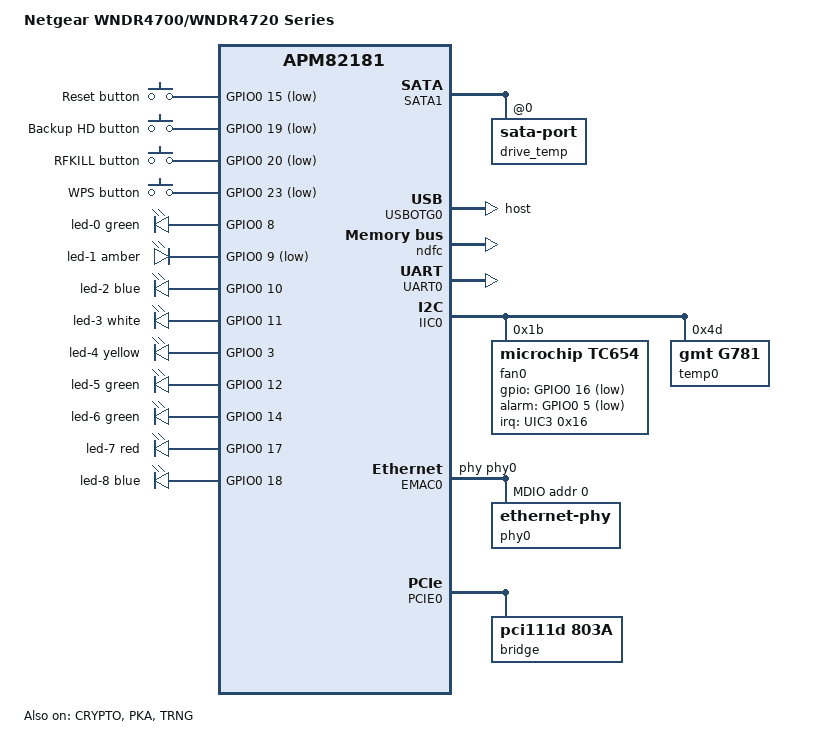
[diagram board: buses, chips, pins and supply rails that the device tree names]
// SPDX-License-Identifier: GPL-2.0-only
/*
 * Device Tree Source for Netgear WNDR4700/WNDR4720 Series
 *
 * Copyright 2008 DENX Software Engineering, Stefan Roese <sr@denx.de>
 */

/dts-v1/;

#include <dt-bindings/thermal/thermal.h>
#include <dt-bindings/leds/common.h>
#include "apm82181.dtsi"

/ {
	model = "Netgear WNDR4700/WNDR4720 Series";
	compatible = "netgear,wndr4700", "apm,bluestone";

	aliases {
		serial0 = &UART0;
	};

	chosen {
		stdout-path = "/plb/opb/serial@ef600300:115200n8";
	};

	thermal-zones {
		cpu_thermal: cpu-thermal {
			polling-delay-passive = <10000>; /* milliseconds */
			polling-delay = <20000>; /* milliseconds */

			thermal-sensors = <&temp0 1>;

			/*
			 * REVISIT:
			 *
			 * Add the <&drive_temp>; sensor there and wire up
			 * the coefficients = <1 1>; property.
			 *
			 * Note: The kernel does not yet support more than
			 * one sensor (see of_thermal.c's function:
			 * thermal_of_build_thermal_zon()). Once this is
			 * implemented.
			 */

			trips {
				/*
				 * Once the thermal governers are a bit smarter
				 * and do hysteresis properly, we can disable
				 * the fan when the HDD and CPU has < 39 C.
				 */
				cpu_alert0: board-alert0 {
					temperature = <25000>;
					hysteresis = <2000>;
					type = "active";
				};

				cpu_alert1: cpu-alert1 {
					temperature = <27000>; /* millicelsius */
					hysteresis = <2000>; /* millicelsius */
					type = "active";
				};

				cpu_alert2: cpu-alert2 {
					temperature = <65000>; /* millicelsius */
					hysteresis = <2000>; /* millicelsius */
					type = "active";
				};

				cpu_alert3: cpu-alert3 {
					temperature = <70000>; /* millicelsius */
					hysteresis = <2000>; /* millicelsius */
					type = "active";
				};

				cpu_alert4: cpu-alert4 {
					temperature = <75000>; /* millicelsius */
					hysteresis = <2000>; /* millicelsius */
					type = "active";
				};

				cpu_alert5: cpu-alert5 {
					temperature = <80000>; /* millicelsius */
					hysteresis = <2000>; /* millicelsius */
					type = "active";
				};

				cpu_alert6: cpu-alert6 {
					temperature = <85000>; /* millicelsius */
					hysteresis = <2000>; /* millicelsius */
					type = "active";
				};

				cpu_crit: cpu-crit {
					temperature = <90000>; /* millicelsius */
					hysteresis = <2000>; /* millicelsius */
					type = "critical";
				};
			};

			cooling-maps {
				map0 {
					trip = <&cpu_alert0>;
					cooling-device = <&fan0 THERMAL_NO_LIMIT 0>;
				};

				map1 {
					trip = <&cpu_alert1>;
					cooling-device = <&fan0 1 1>;
				};

				map2 {
					trip = <&cpu_alert2>;
					cooling-device = <&fan0 2 4>;
				};

				map3 {
					trip = <&cpu_alert3>;
					cooling-device = <&fan0 4 8>;
				};

				map4 {
					trip = <&cpu_alert4>;
					cooling-device = <&fan0 9 12>;
				};

				map5 {
					trip = <&cpu_alert5>;
					cooling-device = <&fan0 13 15>;
				};

				map6 {
					trip = <&cpu_alert6>;
					cooling-device =<&fan0 16 THERMAL_NO_LIMIT>;
				};
			};
		};
	};
};

&CRYPTO {
	status = "okay";
};

&PKA {
	status = "okay";
};

&TRNG {
	status = "okay";
};

&SATA1 {
	status = "okay";

	/*
	 * This drive may have a temperature sensor with a
	 * thermal zone we can use for thermal control of the
	 * chassis temperature using the fan.
	 */

	drive_temp: sata-port@0 {
		reg = <0>;
		#thermal-sensor-cells = <0>;
	};
};

&USBOTG0 {
	status = "okay";
	dr_mode = "host";
};

&ndfc {
	status = "okay";
	/* 128 MiB Nand Flash */
	nand {
		nand-is-boot-medium;

		partitions {
			compatible = "fixed-partitions";
			#address-cells = <1>;
			#size-cells = <1>;

			partition@0 {
				label = "uboot";
				reg = <0x00000000 0x00180000>;
				read-only;
			};

			partition@180000 {
				label = "kernel";
				reg = <0x00180000 0x00380000>;
				/*
				 * device-tree is @ 0x00180000 - 0x001fffff
				 * kernel starts from 0x200000.
				 * this is coded into netgear's u-boot.
				 *
				 * this partition will also contain a
				 * fake/empty rootfs at the end to fool
				 * Netgear's uboot rootfs integrety checks.
				 */
			};

			partition@500000 {
				label = "ubi";
				reg = <0x00500000 0x014e0000>;
			};


			/*
			 * Netgear's u-boot in the fw_recovery mode (can be
			 * triggered by holding the reset button, or if
			 * "bootm" fails) will not flash past this point
			 * (= 0x19E0000).
			 */

			partition@19e0000 {
				label = "config";
				reg = <0x019e0000 0x00080000>;
				read-only;
			};

			partition@1a60000 {
				label = "pot";
				reg = <0x01a60000 0x00080000>;
				read-only;
			};

			partition@1ae0000 {
				label = "traffic_meter";
				reg = <0x01ae0000 0x00300000>;
				read-only;
			};

			partition@1de0000 {
				label = "language";
				reg = <0x01de0000 0x001c0000>;
				read-only;
			};

			partition@1fa0000 {
				label = "ecos";
				reg = <0x01fa0000 0x06020000>;
				read-only;
			};

			partition@7fc0000 {
				label = "wifi_data";
				reg = <0x07fc0000 0x00040000>;
				read-only;

				compatible = "nvmem-cells";
				#address-cells = <1>;
				#size-cells = <1>;

				macaddr_wifi_0: macaddr@0 {
					reg = <0x0 0x6>;
				};
				macaddr_wifi_c: macaddr@c {
					reg = <0xc 0x6>;
				};

				calibration_wifi_1000: calibration@1000 {
					reg = <0x1000 0x440>;
				};

				calibration_wifi_5000: calibration@5000 {
					reg = <0x5000 0x440>;
				};
			};
		};
	};
};

&UART0 {
	status = "okay";
};

&GPIO0 {
	status = "okay";
};

&IIC0 {
	status = "okay";

	fan0: fan@1b {
		compatible = "microchip,tc654";
		reg = <0x1b>;
		#cooling-cells = <2>; /* min followed by max */

		gpios = <&GPIO0 16 GPIO_ACTIVE_LOW>; /* fan status */
		alarm-gpios = <&GPIO0 5 GPIO_ACTIVE_LOW>; /* fault */
		interrupt-parent = <&UIC3>;
		interrupts = <0x16 IRQ_TYPE_EDGE_FALLING>; /* fault */
	};

	temp0: temp@4d {
		compatible = "gmt,g781";
		reg = <0x4d>;
		#thermal-sensor-cells = <1>;

		/*
		 * The LM90 has two sensors:
		 *   temp0 -> internal to LM90
		 *   temp1 -> external NTC near CPU
		 */
	};
};


&EMAC0 {
	status = "okay";
	phy-handle = <&phy0>;
	fifo-entry-size = <10>;

	mdio {
		#address-cells = <1>;
		#size-cells = <0>;
		phy0: ethernet-phy@0 {
			device_type = "ethernet-phy";
			reg = <0>;
			qca,mib-poll-interval = <500>;

			qca,ar8327-initvals = <
				0x0010 0x40000000
				0x0624 0x007f7f7f
				0x0004 0x07a00000	/* PAD0_MODE */
				0x000c 0x01000000	/* PAD6_MODE */
				0x007c 0x0000007e	/* PORT0_STATUS */
			>;
		};
	};
};

&POB0 {

	keys {
		compatible = "gpio-keys";

		reset {
			label = "Reset button";
			gpios = <&GPIO0 15 GPIO_ACTIVE_LOW>;
			linux,code = <KEY_RESTART>;
			interrupt-parent = <&UIC1>;
			interrupts = <0x14 IRQ_TYPE_EDGE_FALLING>;
			debounce-interval = <60>;
		};

		backup_hd {
			label = "Backup HD button";
			gpios = <&GPIO0 19 GPIO_ACTIVE_LOW>;
			linux,code = <BTN_0>;
			interrupt-parent = <&UIC1>;
			interrupts = <0x1e IRQ_TYPE_EDGE_FALLING>;
			debounce-interval = <60>;
		};

		rfkill {
			label = "RFKILL button";
			gpios = <&GPIO0 20 GPIO_ACTIVE_LOW>;
			linux,code = <KEY_RFKILL>;
			interrupt-parent = <&UIC1>;
			interrupts = <0x1f IRQ_TYPE_EDGE_FALLING>;
			debounce-interval = <60>;
		};

		wps {
			label = "WPS button";
			gpios = <&GPIO0 23 GPIO_ACTIVE_LOW>;
			linux,code = <KEY_WPS_BUTTON>;
			interrupt-parent = <&UIC2>;
			interrupts = <0x19 IRQ_TYPE_EDGE_FALLING>;
			debounce-interval = <60>;
		};
	};

	leds {
		compatible = "gpio-leds";

		led-0 {
			color = <LED_COLOR_ID_GREEN>;
			function = LED_FUNCTION_POWER;
			gpios = <&GPIO0 8 GPIO_ACTIVE_HIGH>;
		};

		led-1 {
			color = <LED_COLOR_ID_AMBER>;
			function = LED_FUNCTION_FAULT;
			gpios = <&GPIO0 9 GPIO_ACTIVE_LOW>;
			panic-indicator;
		};

		led-2 {
			color = <LED_COLOR_ID_BLUE>;
			function = LED_FUNCTION_USB;
			gpios = <&GPIO0 10 GPIO_ACTIVE_HIGH>;
			trigger-sources = <&usb2_port 1>, <&usb2_port 2>,
					  <&usb3_port 1>, <&usb3_port 2>;
			linux,default-trigger = "usbport";
		};

		led-3 {
			color = <LED_COLOR_ID_WHITE>;
			function = LED_FUNCTION_INDICATOR;
			gpios = <&GPIO0 11 GPIO_ACTIVE_HIGH>;
		};

		led-4 {
			color = <LED_COLOR_ID_YELLOW>;
			function = LED_FUNCTION_WAN;
			gpios = <&GPIO0 3 GPIO_ACTIVE_HIGH>;
		};

		led-5 {
			color = <LED_COLOR_ID_GREEN>;
			function = LED_FUNCTION_WAN;
			gpios = <&GPIO0 12 GPIO_ACTIVE_HIGH>;
		};

		led-6 {
			color = <LED_COLOR_ID_GREEN>;
			function = LED_FUNCTION_DISK;
			gpios = <&GPIO0 14 GPIO_ACTIVE_HIGH>;
			linux,default-trigger = "disk-activity";
		};

		led-7 {
			color = <LED_COLOR_ID_RED>;
			function = LED_FUNCTION_DISK_ERR;
			gpios = <&GPIO0 17 GPIO_ACTIVE_HIGH>;
		};

		led-8 {
			color = <LED_COLOR_ID_BLUE>;
			function = LED_FUNCTION_WLAN;
			gpios = <&GPIO0 18 GPIO_ACTIVE_HIGH>;
			linux,default-trigger = "phy0tpt";
		};
	};
};

&PCIE0 {
	status = "okay";

	/*
	 * relevant lspci topology:
	 *
	 *	-+-[0000:40]---00.0-[41-7f]----00.0-[42-45]--+-02.0-[43]----00.0
	 *	                                             +-03.0-[44]----00.0
	 *	                                             \-04.0-[45]----00.0
	 *
	 */

	bridge@64,0 {
		reg = <0x00400000 0 0 0 0>;
		#address-cells = <3>;
		#size-cells = <2>;
		ranges;

		bridge@65,0 {
			/* IDT PES4T4 PCI Express Switch */
			compatible = "pci111d,803a";
			reg = <0x00410000 0 0 0 0>;
			#address-cells = <3>;
			#size-cells = <2>;
			ranges;

			bridge@66,2 {
				compatible = "pci111d,803a";
				reg = <0x00421000 0 0 0 0>;
				#address-cells = <3>;
				#size-cells = <2>;
				ranges;

				wifi0: wifi@67,0 {
					/* Atheros AR9380 5GHz */
					compatible = "pci168c,0030";
					reg = <0x00430000 0 0 0 0>;
					interrupts = <3>; /* INTC */
					nvmem-cell-names = "mac-address", "calibration";
					nvmem-cells = <&macaddr_wifi_0>, <&calibration_wifi_1000>;

					/*
					 * Because this was such a pain.
					 * Here's the full device path:
					 * pci0000:40/0000:40:00.0/0000:41:00.0/0000:42:02.0/0000:43:00.0
					 */
				};
			};

			bridge@66,3 {
				compatible = "pci111d,803a";
				reg = <0x00421800 0 0 0 0>;
				#address-cells = <3>;
				#size-cells = <2>;
				ranges;

				wifi1: wifi@68,0 {
					/* Atheros AR9381 2.4GHz */
					compatible = "pci168c,0033";
					reg = <0x00440000 0 0 0 0>;
					interrupts = <4>; /* INTD */
					nvmem-cell-names = "mac-address", "calibration";
					nvmem-cells = <&macaddr_wifi_c>, <&calibration_wifi_5000>;
				};
			};

			bridge@66,4 {
				compatible = "pci111d,803a";
				reg = <0x00422000 0 0 0 0>;
				#address-cells = <3>;
				#size-cells = <2>;
				ranges;

				usb1: usb@69,0 {
					/* Renesas uPD720202 */
					compatible = "pci1912,0015";
					reg = <0x00450000 0 0 0 0>;
					interrupts = <1>; /* INTA */

					#address-cells = <1>;
					#size-cells = <0>;

					usb2_port: port@1 {
						reg = <1>;
						#trigger-source-cells = <1>;
					};

					usb3_port: port@2 {
						reg = <2>;
						#trigger-source-cells = <1>;
					};
				};
			};
		};
	};
};
